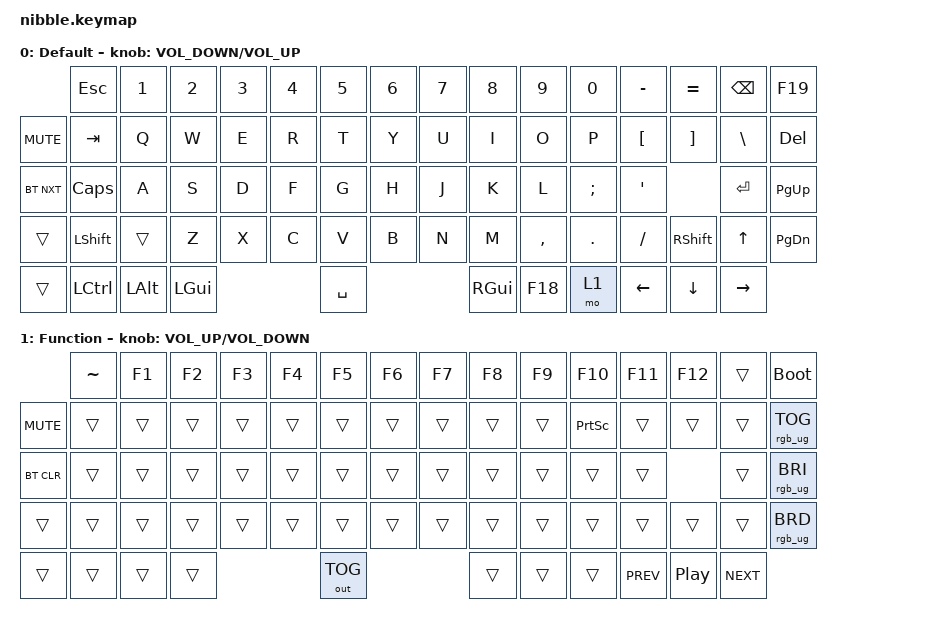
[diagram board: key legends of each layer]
/*
 * Copyright (c) 2020 The ZMK Contributors
 *
 * SPDX-License-Identifier: MIT
 */

#include <behaviors.dtsi>
#include <dt-bindings/zmk/keys.h>
#include <dt-bindings/zmk/bt.h>
#include <dt-bindings/zmk/ext_power.h>
#include <dt-bindings/zmk/rgb.h>
#include <dt-bindings/zmk/outputs.h>
#include <../boards/shields/nibble/boards/nice_nano.overlay>

/ {
    chosen {
      zmk,battery = &vbatt;
    };

    vbatt: vbatt {
        compatible = "zmk,battery-nrf-vddh";
        label = "VBATT";
    };
	
	sensors {
		compatible = "zmk,keymap-sensors";
		sensors = <&encoder_1>;
	};

	keymap {
		compatible = "zmk,keymap";

		default_layer {
			label = "Default";

			sensor-bindings = <&inc_dec_kp C_VOLUME_DOWN C_VOLUME_UP>;

			bindings = <
            	&kp ESC   &kp N1    &kp N2    &kp N3    &kp N4    &kp N5    &kp N6    &kp N7    &kp N8   &kp N9    &kp N0     &kp MINUS &kp EQUAL &kp BSPC &kp F19 
&kp C_MUTE  	&kp TAB   &kp Q     &kp W     &kp E     &kp R     &kp T     &kp Y     &kp U     &kp I    &kp O     &kp P      &kp LBKT  &kp RBKT  &kp BSLH &kp DEL
&bt BT_NXT  	&kp CLCK  &kp A     &kp S     &kp D     &kp F     &kp G     &kp H     &kp J     &kp K    &kp L     &kp SEMI   &kp SQT             &kp RET  &kp PG_UP
&trans			&kp LSHFT &trans    &kp Z     &kp X     &kp C     &kp V     &kp B     &kp N     &kp M    &kp COMMA &kp DOT    &kp FSLH  &kp RSHFT &kp UP   &kp PG_DN
&trans      	&kp LCTRL &kp LALT  &kp LGUI                      &kp SPACE                     &kp RGUI &kp F18   &mo 1      &kp LEFT  &kp DOWN  &kp RIGHT
			>;
		};
		function_layer {
			label = "Function";
			
			sensor-bindings = <&inc_dec_kp C_VOLUME_UP C_VOLUME_DOWN>;

			bindings = <
            	&kp TILDE &kp F1    &kp F2    &kp F3    &kp F4    &kp F5    &kp F6    &kp F7    &kp F8  &kp F9    &kp F10    &kp F11   &kp F12    &trans   &bootloader
&kp C_MUTE  	&trans    &trans    &trans    &trans    &trans    &trans    &trans    &trans    &trans  &trans    &kp PSCRN  &trans    &trans     &trans   &rgb_ug RGB_TOG
&bt BT_CLR  	&trans    &trans    &trans    &trans    &trans    &trans    &trans    &trans    &trans  &trans    &trans     &trans               &trans   &rgb_ug RGB_BRI
&trans      	&trans    &trans    &trans    &trans    &trans    &trans    &trans    &trans  	&trans  &trans    &trans     &trans    &trans     &trans   &rgb_ug RGB_BRD
&trans	    	&trans    &trans    &trans                        &out OUT_TOG                          &trans    &trans     &trans    &kp C_PREV &kp C_PP &kp C_NEXT
			>;
		};
	};
};
